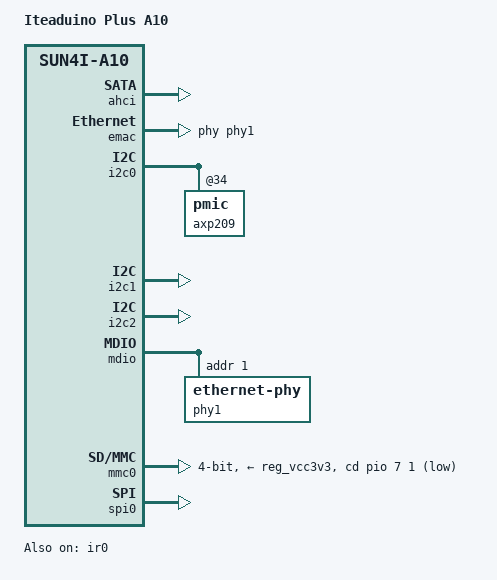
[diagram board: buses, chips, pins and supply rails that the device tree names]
/*
 * Copyright 2015 Josef Gajdusek <atx@atx.name>
 * Copyright 2015 - Marcus Cooper <codekipper@gmail.com>
 *
 * This file is dual-licensed: you can use it either under the terms
 * of the GPL or the X11 license, at your option. Note that this dual
 * licensing only applies to this file, and not this project as a
 * whole.
 *
 *  a) This file is free software; you can redistribute it and/or
 *     modify it under the terms of the GNU General Public License as
 *     published by the Free Software Foundation; either version 2 of the
 *     License, or (at your option) any later version.
 *
 *     This file is distributed in the hope that it will be useful,
 *     but WITHOUT ANY WARRANTY; without even the implied warranty of
 *     MERCHANTABILITY or FITNESS FOR A PARTICULAR PURPOSE.  See the
 *     GNU General Public License for more details.
 *
 * Or, alternatively,
 *
 *  b) Permission is hereby granted, free of charge, to any person
 *     obtaining a copy of this software and associated documentation
 *     files (the "Software"), to deal in the Software without
 *     restriction, including without limitation the rights to use,
 *     copy, modify, merge, publish, distribute, sublicense, and/or
 *     sell copies of the Software, and to permit persons to whom the
 *     Software is furnished to do so, subject to the following
 *     conditions:
 *
 *     The above copyright notice and this permission notice shall be
 *     included in all copies or substantial portions of the Software.
 *
 *     THE SOFTWARE IS PROVIDED "AS IS", WITHOUT WARRANTY OF ANY KIND,
 *     EXPRESS OR IMPLIED, INCLUDING BUT NOT LIMITED TO THE WARRANTIES
 *     OF MERCHANTABILITY, FITNESS FOR A PARTICULAR PURPOSE AND
 *     NONINFRINGEMENT. IN NO EVENT SHALL THE AUTHORS OR COPYRIGHT
 *     HOLDERS BE LIABLE FOR ANY CLAIM, DAMAGES OR OTHER LIABILITY,
 *     WHETHER IN AN ACTION OF CONTRACT, TORT OR OTHERWISE, ARISING
 *     FROM, OUT OF OR IN CONNECTION WITH THE SOFTWARE OR THE USE OR
 *     OTHER DEALINGS IN THE SOFTWARE.
 */

/dts-v1/;
#include "sun4i-a10.dtsi"
#include "sunxi-itead-core-common.dtsi"

/ {
	model = "Iteaduino Plus A10";
	compatible = "itead,iteaduino-plus-a10", "allwinner,sun4i-a10";
};

&ahci {
	target-supply = <&reg_ahci_5v>;
	status = "okay";
};

&emac {
	pinctrl-names = "default";
	pinctrl-0 = <&emac_pins>;
	phy-handle = <&phy1>;
	status = "okay";
};

&emac_sram {
	status = "okay";
};

&i2c0 {
	pinctrl-names = "default";
	pinctrl-0 = <&i2c0_pins>;

	axp209: pmic@34 {
		interrupts = <0>;
	};
};

&i2c1 {
	pinctrl-names = "default";
	pinctrl-0 = <&i2c1_pins>;
	status = "okay";
};

&i2c2 {
	pinctrl-names = "default";
	pinctrl-0 = <&i2c2_pins>;
	status = "okay";
};

&ir0 {
	pinctrl-names = "default";
	pinctrl-0 = <&ir0_rx_pins>;
	status = "okay";
};

&mdio {
	status = "okay";

	phy1: ethernet-phy@1 {
		reg = <1>;
	};
};

&mmc0 {
	pinctrl-names = "default";
	pinctrl-0 = <&mmc0_pins>;
	vmmc-supply = <&reg_vcc3v3>;
	bus-width = <4>;
	cd-gpios = <&pio 7 1 GPIO_ACTIVE_LOW>; /* PH1 */
	status = "okay";
};

&reg_ahci_5v {
	status = "okay";
};

&spi0 {
	pinctrl-names = "default";
	pinctrl-0 = <&spi0_pi_pins>,
		    <&spi0_cs0_pi_pin>;
	status = "okay";
};

&uart0 {
	pinctrl-0 = <&uart0_pb_pins>;
};
